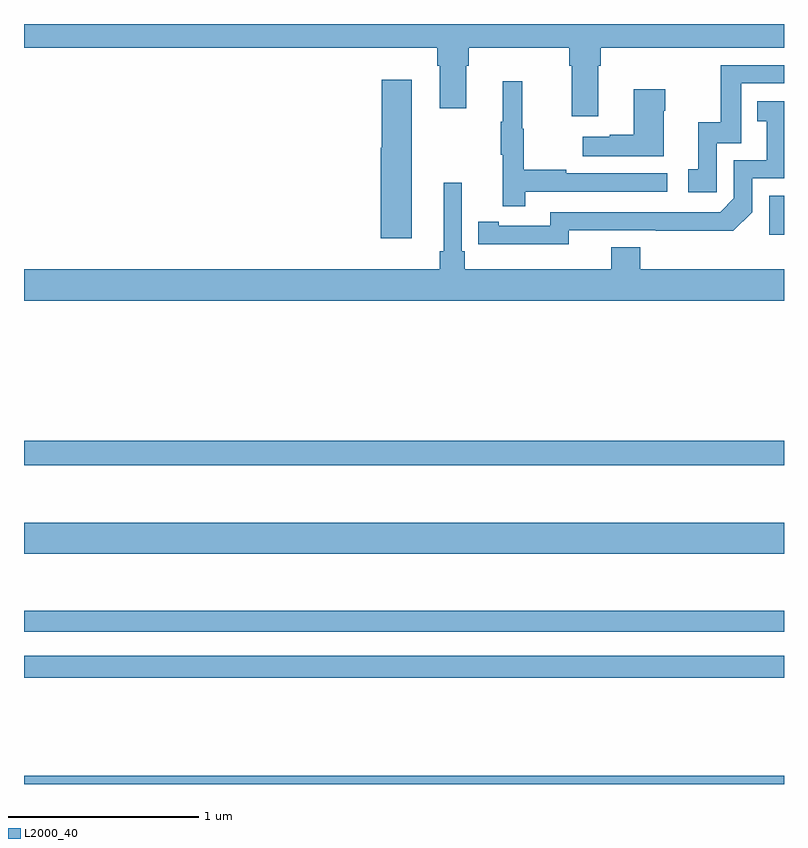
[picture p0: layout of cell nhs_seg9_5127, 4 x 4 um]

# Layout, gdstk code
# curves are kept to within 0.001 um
import gdstk
lib = gdstk.Library(unit=1e-6, precision=1e-09)
def R(c, l, rs):  # rectangles x0, y0, x1, y1
    for r in rs: c.add(gdstk.rectangle(r[:2], r[2:], *l))
def P(c, l, *ps):  # polygons
    for p in ps: c.add(gdstk.Polygon(p, *l))
L2000_40 = (2000, 40)

nhs_seg9_5127 = lib.new_cell('nhs_seg9_5127')
R(nhs_seg9_5127, L2000_40, [(407,1236.5,411,1236.544), (407,1237.06,411,1237.176), (407,1237.302,411,1237.411), (407,1237.712,411,1237.876), (407,1238.178,411,1238.306), (410.922,1239.39,411,1239.597)])
P(nhs_seg9_5127, L2000_40, [(410.023,1240.28),(410.036,1240.28),(410.036,1240.376),(411,1240.376),(411,1240.5),(407,1240.5),(407,1240.376),(409.175,1240.376),(409.175,1240.28),(409.187,1240.28),(409.187,1240.056),(409.327,1240.056),(409.327,1240.28),(409.34,1240.28),(409.34,1240.376),(409.871,1240.376),(409.871,1240.28),(409.883,1240.28),(409.883,1240.014),(410.023,1240.014)],
  [(410.646,1239.873),(410.775,1239.873),(410.775,1240.188),(411,1240.188),(411,1240.284),(410.667,1240.284),(410.667,1239.982),(410.549,1239.982),(410.549,1239.735),(410.496,1239.735),(410.496,1239.615),(410.646,1239.615)],
  [(409.042,1240.207),(408.884,1240.207),(408.884,1239.849),(408.878,1239.849),(408.878,1239.372),(409.042,1239.372)],
  [(409.637,1239.618),(410.386,1239.618),(410.386,1239.714),(409.853,1239.714),(409.853,1239.734),(409.63,1239.734),(409.63,1239.948),(409.622,1239.948),(409.622,1240.198),(409.52,1240.198),(409.52,1239.985),(409.509,1239.985),(409.509,1239.811),(409.52,1239.811),(409.52,1239.54),(409.637,1239.54)],
  [(410.368,1240.043),(410.376,1240.043),(410.376,1240.156),(410.21,1240.156),(410.21,1239.917),(410.084,1239.917),(410.084,1239.907),(409.941,1239.907),(409.941,1239.803),(410.368,1239.803)],
  [(409.866,1239.414),(410.734,1239.413),(410.832,1239.51),(410.832,1239.687),(411,1239.687),(411,1240.093),(410.86,1240.093),(410.86,1239.987),(410.909,1239.987),(410.909,1239.783),(410.736,1239.783),(410.736,1239.582),(410.664,1239.51),(409.77,1239.51),(409.77,1239.438),(409.498,1239.438),(409.498,1239.458),(409.39,1239.458),(409.39,1239.342),(409.866,1239.341)],
  [(411,1239.208),(410.243,1239.208),(410.243,1239.325),(410.09,1239.325),(410.09,1239.208),(409.319,1239.208),(409.319,1239.304),(409.305,1239.304),(409.305,1239.664),(409.208,1239.664),(409.208,1239.304),(409.189,1239.304),(409.189,1239.208),(407,1239.208),(407,1239.044),(411,1239.044)])

lib.write_gds('nhs_seg9_5127.gds')
